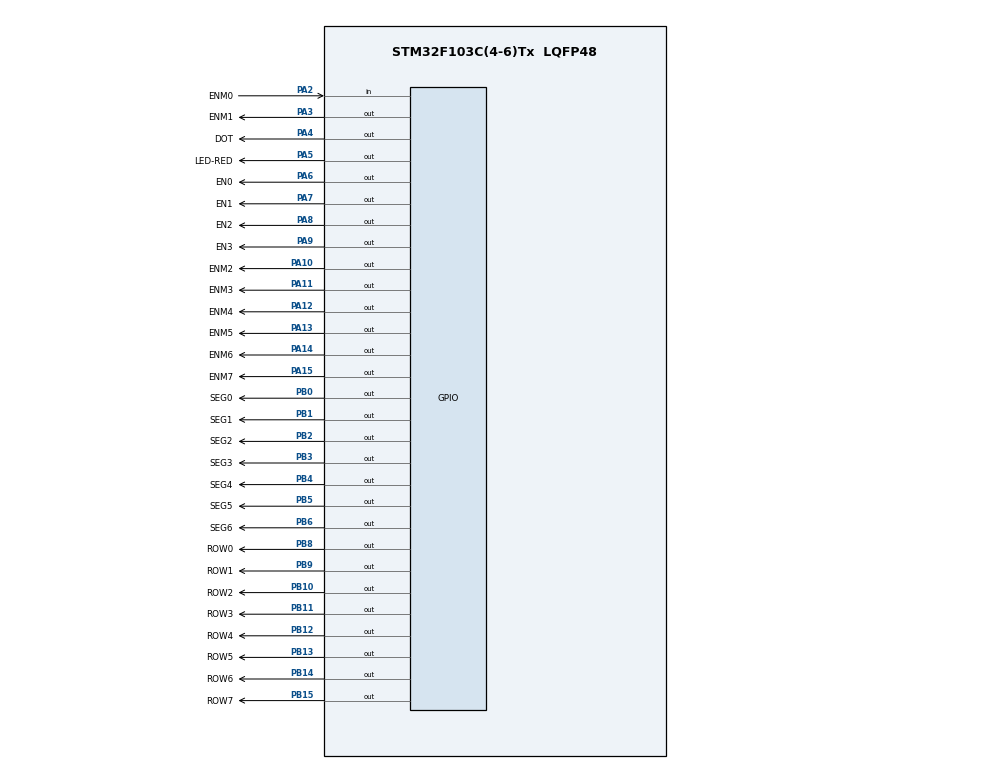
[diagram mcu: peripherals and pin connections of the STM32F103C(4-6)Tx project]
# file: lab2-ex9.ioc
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Mcu.Family=STM32F1
Mcu.Name=STM32F103C(4-6)Tx
Mcu.Package=LQFP48
NVIC.PriorityGroup=NVIC_PRIORITYGROUP_4
NVIC.TIM2_IRQn=true\:0\:0\:false\:false\:true\:true\:true\:true
PA10.GPIO_Label=ENM2
PA10.Signal=GPIO_Output
PA11.GPIO_Label=ENM3
PA11.Signal=GPIO_Output
PA12.GPIO_Label=ENM4
PA12.Signal=GPIO_Output
PA13.GPIO_Label=ENM5
PA13.Signal=GPIO_Output
PA14.GPIO_Label=ENM6
PA14.Signal=GPIO_Output
PA15.GPIO_Label=ENM7
PA15.Signal=GPIO_Output
PA2.GPIO_Label=ENM0
PA2.Signal=GPIO_Input
PA3.GPIO_Label=ENM1
PA3.Signal=GPIO_Output
PA4.GPIO_Label=DOT
PA4.Signal=GPIO_Output
PA5.GPIO_Label=LED-RED
PA5.Signal=GPIO_Output
PA6.GPIO_Label=EN0
PA6.Signal=GPIO_Output
PA7.GPIO_Label=EN1
PA7.Signal=GPIO_Output
PA8.GPIO_Label=EN2
PA8.Signal=GPIO_Output
PA9.GPIO_Label=EN3
PA9.Signal=GPIO_Output
PB0.GPIO_Label=SEG0
PB0.Signal=GPIO_Output
PB1.GPIO_Label=SEG1
PB1.Signal=GPIO_Output
PB10.GPIO_Label=ROW2
PB10.Signal=GPIO_Output
PB11.GPIO_Label=ROW3
PB11.Signal=GPIO_Output
PB12.GPIO_Label=ROW4
PB12.Signal=GPIO_Output
PB13.GPIO_Label=ROW5
PB13.Signal=GPIO_Output
PB14.GPIO_Label=ROW6
PB14.Signal=GPIO_Output
PB15.GPIO_Label=ROW7
PB15.Signal=GPIO_Output
PB2.GPIO_Label=SEG2
PB2.Signal=GPIO_Output
PB3.GPIO_Label=SEG3
PB3.Signal=GPIO_Output
PB4.GPIO_Label=SEG4
PB4.Signal=GPIO_Output
PB5.GPIO_Label=SEG5
PB5.Signal=GPIO_Output
PB6.GPIO_Label=SEG6
PB6.Signal=GPIO_Output
PB8.GPIO_Label=ROW0
PB8.Signal=GPIO_Output
PB9.GPIO_Label=ROW1
PB9.Signal=GPIO_Output
ProjectManager.HeapSize=0x200
ProjectManager.StackSize=0x400
ProjectManager.TargetToolchain=STM32CubeIDE
RCC.APB1Freq_Value=8000000
RCC.APB2Freq_Value=8000000
TIM2.Period=9
TIM2.Prescaler=7999
VP_TIM2_VS_ClockSourceINT.Mode=Internal
board=custom

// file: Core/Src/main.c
/* USER CODE BEGIN Header */
/**
  ******************************************************************************
  * @file           : main.c
  * @brief          : Main program body
  ******************************************************************************
  * @attention
  *
  * <h2><center>&copy; Copyright (c) 2022 STMicroelectronics.
  * All rights reserved.</center></h2>
  *
  * This software component is licensed by ST under BSD 3-Clause license,
  * the "License"; You may not use this file except in compliance with the
  * License. You may obtain a copy of the License at:
  *                        opensource.org/licenses/BSD-3-Clause
  *
  ******************************************************************************
  */
/* USER CODE END Header */
#include "main.h"

/* USER CODE BEGIN Includes */
//#include "global.h"
/* USER CODE END Includes */

TIM_HandleTypeDef htim2;

void SystemClock_Config(void);
static void MX_GPIO_Init(void);
static void MX_TIM2_Init(void);

/* USER CODE BEGIN 0 */
int timer0_counter = 0;
int timer0_flag = 0;

int timer1_counter = 0;
int timer1_flag = 0;

int timer2_counter = 0;
int timer2_flag = 0;

int TIMER_CYCLE = 10;

int LED_time = 1000;
int SEG_switching_time = 250;
int matrix_scanning_time = 10;
int index_shift = 0;
void setTimer0(int duration)
{
	timer0_counter = duration / TIMER_CYCLE;
	timer0_flag = 0;
}

void timerRun0()
{
	if (timer0_counter > 0) {
		timer0_counter--;
		if (timer0_counter == 0) {
			timer0_flag = 1;
		}
	}
}

void setTimer1(int duration)
{
	timer1_counter = duration / TIMER_CYCLE;
	timer1_flag = 0;
}

void timerRun1()
{
	if (timer1_counter > 0) {
		timer1_counter--;
		if (timer1_counter == 0) {
			timer1_flag = 1;
		}
	}
}

void setTimer2(int duration)
{
	timer2_counter = duration / TIMER_CYCLE;
	timer2_flag = 0;
}

void timerRun2()
{
	if (timer2_counter > 0) {
		timer2_counter--;
		if (timer2_counter == 0) {
			timer2_flag = 1;
		}
	}
}
void display7SEG(int value){
		HAL_GPIO_WritePin(GPIOB, GPIO_PIN_0, GPIO_PIN_SET);
		HAL_GPIO_WritePin(GPIOB, GPIO_PIN_1, GPIO_PIN_SET);
		HAL_GPIO_WritePin(GPIOB, GPIO_PIN_2, GPIO_PIN_SET);
		HAL_GPIO_WritePin(GPIOB, GPIO_PIN_3, GPIO_PIN_SET);
		HAL_GPIO_WritePin(GPIOB, GPIO_PIN_4, GPIO_PIN_SET);
		HAL_GPIO_WritePin(GPIOB, GPIO_PIN_5, GPIO_PIN_SET);
		HAL_GPIO_WritePin(GPIOB, GPIO_PIN_6, GPIO_PIN_SET);
		switch (value) {
		case 1 :
			HAL_GPIO_WritePin(GPIOB, GPIO_PIN_1, GPIO_PIN_RESET);
			HAL_GPIO_WritePin(GPIOB, GPIO_PIN_2, GPIO_PIN_RESET);
			break;
		case 2 :
			HAL_GPIO_WritePin(GPIOB, GPIO_PIN_0, GPIO_PIN_RESET);
			HAL_GPIO_WritePin(GPIOB, GPIO_PIN_1, GPIO_PIN_RESET);
			HAL_GPIO_WritePin(GPIOB, GPIO_PIN_3, GPIO_PIN_RESET);
			HAL_GPIO_WritePin(GPIOB, GPIO_PIN_4, GPIO_PIN_RESET);
			HAL_GPIO_WritePin(GPIOB, GPIO_PIN_6, GPIO_PIN_RESET);
			break;
		case 3 :
			HAL_GPIO_WritePin(GPIOB, GPIO_PIN_0, GPIO_PIN_RESET);
			HAL_GPIO_WritePin(GPIOB, GPIO_PIN_1, GPIO_PIN_RESET);
			HAL_GPIO_WritePin(GPIOB, GPIO_PIN_2, GPIO_PIN_RESET);
			HAL_GPIO_WritePin(GPIOB, GPIO_PIN_3, GPIO_PIN_RESET);
			HAL_GPIO_WritePin(GPIOB, GPIO_PIN_6, GPIO_PIN_RESET);
			break;
		case 4 :
			HAL_GPIO_WritePin(GPIOB, GPIO_PIN_1, GPIO_PIN_RESET);
			HAL_GPIO_WritePin(GPIOB, GPIO_PIN_2, GPIO_PIN_RESET);
			HAL_GPIO_WritePin(GPIOB, GPIO_PIN_5, GPIO_PIN_RESET);
			HAL_GPIO_WritePin(GPIOB, GPIO_PIN_6, GPIO_PIN_RESET);
			break;
		case 5 :
			HAL_GPIO_WritePin(GPIOB, GPIO_PIN_0, GPIO_PIN_RESET);
			HAL_GPIO_WritePin(GPIOB, GPIO_PIN_2, GPIO_PIN_RESET);
			HAL_GPIO_WritePin(GPIOB, GPIO_PIN_3, GPIO_PIN_RESET);
			HAL_GPIO_WritePin(GPIOB, GPIO_PIN_5, GPIO_PIN_RESET);
			HAL_GPIO_WritePin(GPIOB, GPIO_PIN_6, GPIO_PIN_RESET);
			break;
		case 6:
			HAL_GPIO_WritePin(GPIOB, GPIO_PIN_0, GPIO_PIN_RESET);
			HAL_GPIO_WritePin(GPIOB, GPIO_PIN_2, GPIO_PIN_RESET);
			HAL_GPIO_WritePin(GPIOB, GPIO_PIN_3, GPIO_PIN_RESET);
			HAL_GPIO_WritePin(GPIOB, GPIO_PIN_4, GPIO_PIN_RESET);
			HAL_GPIO_WritePin(GPIOB, GPIO_PIN_5, GPIO_PIN_RESET);
			HAL_GPIO_WritePin(GPIOB, GPIO_PIN_6, GPIO_PIN_RESET);
			break;
		case 7 :
			HAL_GPIO_WritePin(GPIOB, GPIO_PIN_0, GPIO_PIN_RESET);
			HAL_GPIO_WritePin(GPIOB, GPIO_PIN_1, GPIO_PIN_RESET);
			HAL_GPIO_WritePin(GPIOB, GPIO_PIN_2, GPIO_PIN_RESET);
			break;
		case 8 :
			HAL_GPIO_WritePin(GPIOB, GPIO_PIN_0, GPIO_PIN_RESET);
			HAL_GPIO_WritePin(GPIOB, GPIO_PIN_1, GPIO_PIN_RESET);
			HAL_GPIO_WritePin(GPIOB, GPIO_PIN_2, GPIO_PIN_RESET);
			HAL_GPIO_WritePin(GPIOB, GPIO_PIN_3, GPIO_PIN_RESET);
			HAL_GPIO_WritePin(GPIOB, GPIO_PIN_4, GPIO_PIN_RESET);
			HAL_GPIO_WritePin(GPIOB, GPIO_PIN_5, GPIO_PIN_RESET);
			HAL_GPIO_WritePin(GPIOB, GPIO_PIN_6, GPIO_PIN_RESET);
			break;
		case 9:
			HAL_GPIO_WritePin(GPIOB, GPIO_PIN_0, GPIO_PIN_RESET);
			HAL_GPIO_WritePin(GPIOB, GPIO_PIN_1, GPIO_PIN_RESET);
			HAL_GPIO_WritePin(GPIOB, GPIO_PIN_2, GPIO_PIN_RESET);
			HAL_GPIO_WritePin(GPIOB, GPIO_PIN_3, GPIO_PIN_RESET);
			HAL_GPIO_WritePin(GPIOB, GPIO_PIN_5, GPIO_PIN_RESET);
			HAL_GPIO_WritePin(GPIOB, GPIO_PIN_6, GPIO_PIN_RESET);
			break;
		default:
			HAL_GPIO_WritePin(GPIOB, GPIO_PIN_0, GPIO_PIN_RESET);
			HAL_GPIO_WritePin(GPIOB, GPIO_PIN_1, GPIO_PIN_RESET);
			HAL_GPIO_WritePin(GPIOB, GPIO_PIN_2, GPIO_PIN_RESET);
			HAL_GPIO_WritePin(GPIOB, GPIO_PIN_3, GPIO_PIN_RESET);
			HAL_GPIO_WritePin(GPIOB, GPIO_PIN_4, GPIO_PIN_RESET);
			HAL_GPIO_WritePin(GPIOB, GPIO_PIN_5, GPIO_PIN_RESET);
			break;
		}
}

const int MAX_LED = 4;
int index_led = 0;
int led_buffer[4] = {1, 2, 3, 4};
void update7SEG(int index){
    switch (index){
        case 0:
            display7SEG(led_buffer[0]);
            break;
        case 1:
            display7SEG(led_buffer[1]);
            break;
        case 2:
            display7SEG(led_buffer[2]);
            break;
        case 3:
            display7SEG(led_buffer[3]);
            break;
        default:
            break;
    }
}

int hour = 15, minute = 8, second = 50;
void updateClockBuffer(void) {
	led_buffer[0] = hour / 10;
	led_buffer[1] = hour % 10;
	led_buffer[2] = minute / 10;
	led_buffer[3] = minute % 10;
}

const int MAX_LED_MATRIX = 8;
int index_led_matrix = 0;
uint8_t matrix_buffer2[8] = {0x00, 0xFC, 0xFE, 0x33, 0x33, 0xFE, 0xFC, 0x00};
void updateLEDMatrix2(int index){
    switch (index){
        case 0:
        	HAL_GPIO_WritePin(GPIOB, matrix_buffer2[0] << 8, GPIO_PIN_RESET);
        	HAL_GPIO_WritePin(GPIOB, (~matrix_buffer2[0]) << 8, GPIO_PIN_SET);
            break;
        case 1:
        	HAL_GPIO_WritePin(GPIOB, matrix_buffer2[1] << 8, GPIO_PIN_RESET);
        	HAL_GPIO_WritePin(GPIOB, (~matrix_buffer2[1]) << 8, GPIO_PIN_SET);
            break;
        case 2:
        	HAL_GPIO_WritePin(GPIOB, matrix_buffer2[2] << 8, GPIO_PIN_RESET);
        	HAL_GPIO_WritePin(GPIOB, (~matrix_buffer2[2]) << 8, GPIO_PIN_SET);
            break;
        case 3:
        	HAL_GPIO_WritePin(GPIOB, matrix_buffer2[3] << 8, GPIO_PIN_RESET);
        	HAL_GPIO_WritePin(GPIOB, (~matrix_buffer2[3]) << 8, GPIO_PIN_SET);
            break;
        case 4:
        	HAL_GPIO_WritePin(GPIOB, matrix_buffer2[4] << 8, GPIO_PIN_RESET);
        	HAL_GPIO_WritePin(GPIOB, (~matrix_buffer2[4]) << 8, GPIO_PIN_SET);
            break;
        case 5:
        	HAL_GPIO_WritePin(GPIOB, matrix_buffer2[5] << 8, GPIO_PIN_RESET);
        	HAL_GPIO_WritePin(GPIOB, (~matrix_buffer2[5]) << 8, GPIO_PIN_SET);
            break;
        case 6:
        	HAL_GPIO_WritePin(GPIOB, matrix_buffer2[6] << 8, GPIO_PIN_RESET);
        	HAL_GPIO_WritePin(GPIOB, (~matrix_buffer2[6]) << 8, GPIO_PIN_SET);
            break;
        case 7:
        	HAL_GPIO_WritePin(GPIOB, matrix_buffer2[7] << 8, GPIO_PIN_RESET);
        	HAL_GPIO_WritePin(GPIOB, (~matrix_buffer2[7]) << 8, GPIO_PIN_SET);
            break;
        default:
            break;
    }
}

uint8_t matrix_buffer[24] = {
		0x00, 0x00, 0x00, 0x00, 0x00, 0x00, 0x00, 0x00,
		0x00, 0xFC, 0xFE, 0x33, 0x33, 0xFE, 0xFC, 0x00,
		0x00, 0x00, 0x00, 0x00, 0x00, 0x00, 0x00, 0x00
};
void updateLEDMatrix(int index){
    switch (index){
        case 0:
        	HAL_GPIO_WritePin(GPIOB, matrix_buffer[0 + index_shift] << 8, GPIO_PIN_RESET);
        	HAL_GPIO_WritePin(GPIOB, (~matrix_buffer[0 + index_shift]) << 8, GPIO_PIN_SET);
            break;
        case 1:
        	HAL_GPIO_WritePin(GPIOB, matrix_buffer[1 + index_shift] << 8, GPIO_PIN_RESET);
        	HAL_GPIO_WritePin(GPIOB, (~matrix_buffer[1 + index_shift]) << 8, GPIO_PIN_SET);
            break;
        case 2:
        	HAL_GPIO_WritePin(GPIOB, matrix_buffer[2 + index_shift] << 8, GPIO_PIN_RESET);
        	HAL_GPIO_WritePin(GPIOB, (~matrix_buffer[2 + index_shift]) << 8, GPIO_PIN_SET);
            break;
        case 3:
        	HAL_GPIO_WritePin(GPIOB, matrix_buffer[3 + index_shift] << 8, GPIO_PIN_RESET);
        	HAL_GPIO_WritePin(GPIOB, (~matrix_buffer[3 + index_shift]) << 8, GPIO_PIN_SET);
            break;
        case 4:
        	HAL_GPIO_WritePin(GPIOB, matrix_buffer[4 + index_shift] << 8, GPIO_PIN_RESET);
        	HAL_GPIO_WritePin(GPIOB, (~matrix_buffer[4 + index_shift]) << 8, GPIO_PIN_SET);
            break;
        case 5:
        	HAL_GPIO_WritePin(GPIOB, matrix_buffer[5 + index_shift] << 8, GPIO_PIN_RESET);
        	HAL_GPIO_WritePin(GPIOB, (~matrix_buffer[5 + index_shift]) << 8, GPIO_PIN_SET);
            break;
        case 6:
        	HAL_GPIO_WritePin(GPIOB, matrix_buffer[6 + index_shift] << 8, GPIO_PIN_RESET);
        	HAL_GPIO_WritePin(GPIOB, (~matrix_buffer[6 + index_shift]) << 8, GPIO_PIN_SET);
            break;
        case 7:
        	HAL_GPIO_WritePin(GPIOB, matrix_buffer[7 + index_shift] << 8, GPIO_PIN_RESET);
        	HAL_GPIO_WritePin(GPIOB, (~matrix_buffer[7 + index_shift]) << 8, GPIO_PIN_SET);
            break;
        default:
            break;
    }
}
/* USER CODE END 0 */

int main(void)
{

  /* MCU Configuration--------------------------------------------------------*/

  /* Reset of all peripherals, Initializes the Flash interface and the Systick. */
  HAL_Init();

  /* Configure the system clock */
  SystemClock_Config();

  /* Initialize all configured peripherals */
  MX_GPIO_Init();
  MX_TIM2_Init();
  /* USER CODE BEGIN 2 */
  HAL_TIM_Base_Start_IT(&htim2);
  /* USER CODE END 2 */

  /* Infinite loop */
  /* USER CODE BEGIN WHILE */
  setTimer0(LED_time);
  setTimer1(SEG_switching_time);
  setTimer2(matrix_scanning_time);

  while (1)
  {
	  if (timer0_flag == 1) {
		  HAL_GPIO_TogglePin(LED_RED_GPIO_Port, LED_RED_Pin);
		  HAL_GPIO_TogglePin(DOT_GPIO_Port, DOT_Pin);

		  setTimer0(LED_time);
		  second++;
	  }

		if (second >= 60){
			second = 0;
			minute++;
		}
		if (minute >= 60){
			minute = 0;
			hour++;
		}
		if (hour >= 24){
			hour = 0;
		}
		updateClockBuffer();
		if (index_led >= MAX_LED) index_led = 0;

		if (timer1_flag == 1) {
			HAL_GPIO_WritePin(GPIOA, 0x03C0, GPIO_PIN_SET);

			switch (index_led) {
				case 0:
					HAL_GPIO_WritePin(EN0_GPIO_Port, EN0_Pin, GPIO_PIN_RESET);
					break;
				case 1:
					HAL_GPIO_WritePin(EN1_GPIO_Port, EN1_Pin, GPIO_PIN_RESET);
					break;
				case 2:
					HAL_GPIO_WritePin(EN2_GPIO_Port, EN2_Pin, GPIO_PIN_RESET);
					break;
				case 3:
					HAL_GPIO_WritePin(EN3_GPIO_Port, EN3_Pin, GPIO_PIN_RESET);
					break;
				default:
					break;
			}

			update7SEG(index_led++);

			setTimer1(SEG_switching_time);
		}

		if (index_led_matrix >= MAX_LED_MATRIX) {
			index_led_matrix = 0;
			index_shift++;
		}
		if (index_shift >= 16) index_shift = 0;

		if (timer2_flag == 1) {
			HAL_GPIO_WritePin(GPIOA, 0xFC0C, GPIO_PIN_SET);

			switch (index_led_matrix) {
			case 0:
				HAL_GPIO_WritePin(ENM0_GPIO_Port, ENM0_Pin, GPIO_PIN_RESET);
				break;
			case 1:
				HAL_GPIO_WritePin(ENM1_GPIO_Port, ENM1_Pin, GPIO_PIN_RESET);
				break;
			case 2:
				HAL_GPIO_WritePin(ENM2_GPIO_Port, ENM2_Pin, GPIO_PIN_RESET);
				break;
			case 3:
				HAL_GPIO_WritePin(ENM3_GPIO_Port, ENM3_Pin, GPIO_PIN_RESET);
				break;
			case 4:
				HAL_GPIO_WritePin(ENM4_GPIO_Port, ENM4_Pin, GPIO_PIN_RESET);
				break;
			case 5:
				HAL_GPIO_WritePin(ENM5_GPIO_Port, ENM5_Pin, GPIO_PIN_RESET);
				break;
			case 6:
				HAL_GPIO_WritePin(ENM6_GPIO_Port, ENM6_Pin, GPIO_PIN_RESET);
				break;
			case 7:
				HAL_GPIO_WritePin(ENM7_GPIO_Port, ENM7_Pin, GPIO_PIN_RESET);
				break;
			default:
				break;
			}

//			updateLEDMatrix2(index_led_matrix++);
			updateLEDMatrix(index_led_matrix++);
			setTimer2(matrix_scanning_time);
		}

    /* USER CODE END WHILE */

  }
}

void SystemClock_Config(void)
{
  RCC_OscInitTypeDef RCC_OscInitStruct = {0};
  RCC_ClkInitTypeDef RCC_ClkInitStruct = {0};

  /** Initializes the RCC Oscillators according to the specified parameters
  * in the RCC_OscInitTypeDef structure.
  */
  RCC_OscInitStruct.OscillatorType = RCC_OSCILLATORTYPE_HSI;
  RCC_OscInitStruct.HSIState = RCC_HSI_ON;
  RCC_OscInitStruct.HSICalibrationValue = RCC_HSICALIBRATION_DEFAULT;
  RCC_OscInitStruct.PLL.PLLState = RCC_PLL_NONE;
  if (HAL_RCC_OscConfig(&RCC_OscInitStruct) != HAL_OK)
  {
    Error_Handler();
  }
  /** Initializes the CPU, AHB and APB buses clocks
  */
  RCC_ClkInitStruct.ClockType = RCC_CLOCKTYPE_HCLK|RCC_CLOCKTYPE_SYSCLK
                              |RCC_CLOCKTYPE_PCLK1|RCC_CLOCKTYPE_PCLK2;
  RCC_ClkInitStruct.SYSCLKSource = RCC_SYSCLKSOURCE_HSI;
  RCC_ClkInitStruct.AHBCLKDivider = RCC_SYSCLK_DIV1;
  RCC_ClkInitStruct.APB1CLKDivider = RCC_HCLK_DIV1;
  RCC_ClkInitStruct.APB2CLKDivider = RCC_HCLK_DIV1;

  if (HAL_RCC_ClockConfig(&RCC_ClkInitStruct, FLASH_LATENCY_0) != HAL_OK)
  {
    Error_Handler();
  }
}

static void MX_TIM2_Init(void)
{

  TIM_ClockConfigTypeDef sClockSourceConfig = {0};
  TIM_MasterConfigTypeDef sMasterConfig = {0};

  htim2.Instance = TIM2;
  htim2.Init.Prescaler = 7999;
  htim2.Init.CounterMode = TIM_COUNTERMODE_UP;
  htim2.Init.Period = 9;
  htim2.Init.ClockDivision = TIM_CLOCKDIVISION_DIV1;
  htim2.Init.AutoReloadPreload = TIM_AUTORELOAD_PRELOAD_DISABLE;
  if (HAL_TIM_Base_Init(&htim2) != HAL_OK)
  {
    Error_Handler();
  }
  sClockSourceConfig.ClockSource = TIM_CLOCKSOURCE_INTERNAL;
  if (HAL_TIM_ConfigClockSource(&htim2, &sClockSourceConfig) != HAL_OK)
  {
    Error_Handler();
  }
  sMasterConfig.MasterOutputTrigger = TIM_TRGO_RESET;
  sMasterConfig.MasterSlaveMode = TIM_MASTERSLAVEMODE_DISABLE;
  if (HAL_TIMEx_MasterConfigSynchronization(&htim2, &sMasterConfig) != HAL_OK)
  {
    Error_Handler();
  }

}

static void MX_GPIO_Init(void)
{
  GPIO_InitTypeDef GPIO_InitStruct = {0};

  /* GPIO Ports Clock Enable */
  __HAL_RCC_GPIOA_CLK_ENABLE();
  __HAL_RCC_GPIOB_CLK_ENABLE();

  /*Configure GPIO pin Output Level */
  HAL_GPIO_WritePin(GPIOA, ENM0_Pin|ENM1_Pin|DOT_Pin|LED_RED_Pin
                          |EN0_Pin|EN1_Pin|EN2_Pin|EN3_Pin
                          |ENM2_Pin|ENM3_Pin|ENM4_Pin|ENM5_Pin
                          |ENM6_Pin|ENM7_Pin, GPIO_PIN_RESET);

  /*Configure GPIO pin Output Level */
  HAL_GPIO_WritePin(GPIOB, SEG0_Pin|SEG1_Pin|SEG2_Pin|GPIO_PIN_10
                          |GPIO_PIN_11|GPIO_PIN_12|GPIO_PIN_13|GPIO_PIN_14
                          |GPIO_PIN_15|SEG3_Pin|SEG4_Pin|SEG5_Pin
                          |SEG6_Pin|GPIO_PIN_8|GPIO_PIN_9, GPIO_PIN_RESET);

  /*Configure GPIO pins : ENM0_Pin ENM1_Pin DOT_Pin LED_RED_Pin
                           EN0_Pin EN1_Pin EN2_Pin EN3_Pin
                           ENM2_Pin ENM3_Pin ENM4_Pin ENM5_Pin
                           ENM6_Pin ENM7_Pin */
  GPIO_InitStruct.Pin = ENM0_Pin|ENM1_Pin|DOT_Pin|LED_RED_Pin
                          |EN0_Pin|EN1_Pin|EN2_Pin|EN3_Pin
                          |ENM2_Pin|ENM3_Pin|ENM4_Pin|ENM5_Pin
                          |ENM6_Pin|ENM7_Pin;
  GPIO_InitStruct.Mode = GPIO_MODE_OUTPUT_PP;
  GPIO_InitStruct.Pull = GPIO_NOPULL;
  GPIO_InitStruct.Speed = GPIO_SPEED_FREQ_LOW;
  HAL_GPIO_Init(GPIOA, &GPIO_InitStruct);

  /*Configure GPIO pins : SEG0_Pin SEG1_Pin SEG2_Pin PB10
                           PB11 PB12 PB13 PB14
                           PB15 SEG3_Pin SEG4_Pin SEG5_Pin
                           SEG6_Pin PB8 PB9 */
  GPIO_InitStruct.Pin = SEG0_Pin|SEG1_Pin|SEG2_Pin|GPIO_PIN_10
                          |GPIO_PIN_11|GPIO_PIN_12|GPIO_PIN_13|GPIO_PIN_14
                          |GPIO_PIN_15|SEG3_Pin|SEG4_Pin|SEG5_Pin
                          |SEG6_Pin|GPIO_PIN_8|GPIO_PIN_9;
  GPIO_InitStruct.Mode = GPIO_MODE_OUTPUT_PP;
  GPIO_InitStruct.Pull = GPIO_NOPULL;
  GPIO_InitStruct.Speed = GPIO_SPEED_FREQ_LOW;
  HAL_GPIO_Init(GPIOB, &GPIO_InitStruct);

}

/* USER CODE BEGIN 4 */
void HAL_TIM_PeriodElapsedCallback(TIM_HandleTypeDef *htim){
	timerRun0();
	timerRun1();
	timerRun2();
}
/* USER CODE END 4 */

void Error_Handler(void)
{
  __disable_irq();
  while (1)
  {
  }
}

/************************ (C) COPYRIGHT STMicroelectronics *****END OF FILE****/
